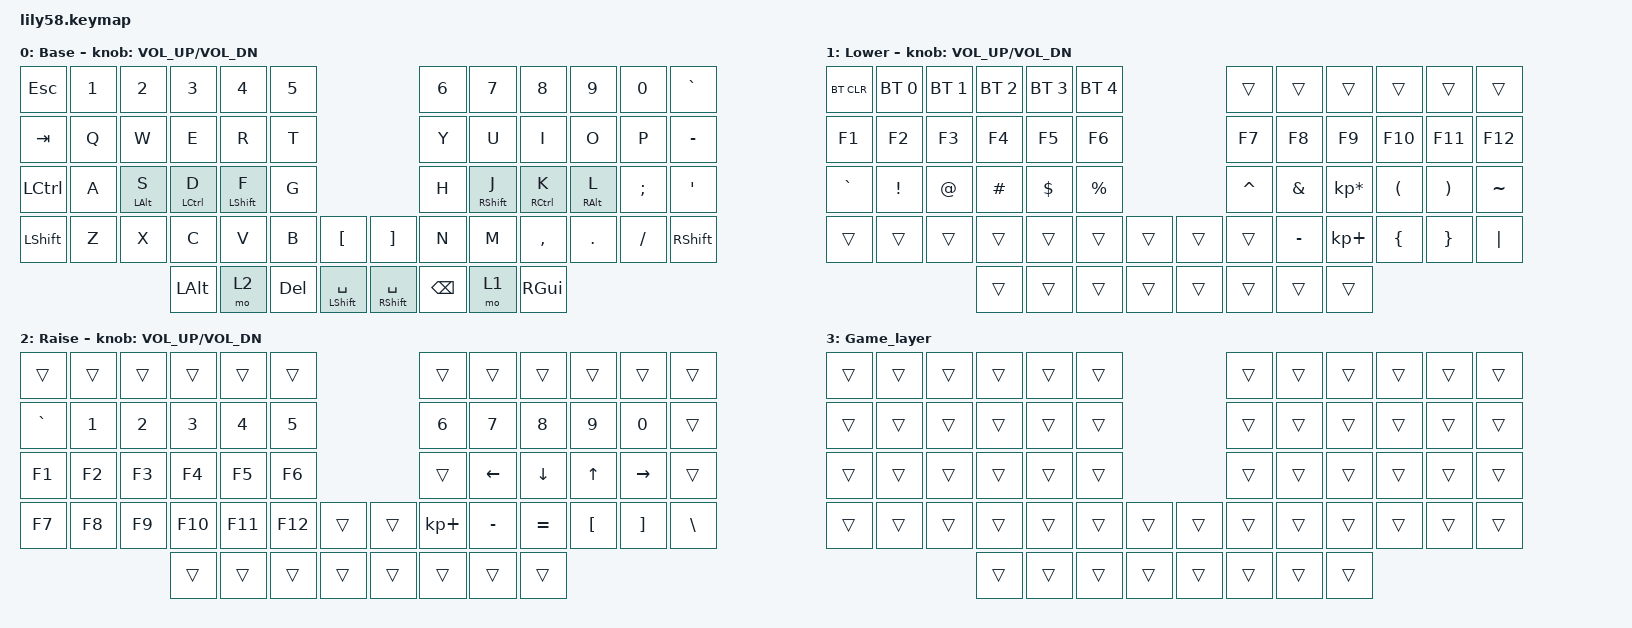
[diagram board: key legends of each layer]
/*
 * Copyright (c) 2020 The ZMK Contributors
 *
 * SPDX-License-Identifier: MIT
 */

#include <behaviors.dtsi>
#include <dt-bindings/zmk/bt.h>
#include <dt-bindings/zmk/keys.h>

/ {
    keymap {
        compatible = "zmk,keymap";

        default_layer {
            // ------------------------------------------------------------------------------------------------------------
            // |  ESC  |  1  |  2  |  3   |  4   |  5   |                   |  6   |  7    |  8    |  9   |   0   |   `   |
            // |  TAB  |  Q  |  W  |  E   |  R   |  T   |                   |  Y   |  U    |  I    |  O   |   P   |   -   |
            // |  CTRL |  A  |  S  |  D   |  F   |  G   |                   |  H   |  J    |  K    |  L   |   ;   |   '   |
            // | SHIFT |  Z  |  X  |  C   |  V   |  B   |   "["  |  |  "]"  |  N   |  M    |  ,    |  .   |   /   | SHIFT |
            //                     | ALT  | GUI  | LOWER|  SPACE |  | ENTER | RAISE| BSPC  | GUI   |

            display-name = "Base";
            bindings = <
&kp ESC    &kp N1  &kp N2          &kp N3              &kp N4            &kp N5                                                     &kp N6         &kp N7        &kp N8               &kp N9           &kp N0    &kp GRAVE
&kp TAB    &kp Q   &kp W           &kp E               &kp R             &kp T                                                      &kp Y          &kp U         &kp I                &kp O            &kp P     &kp MINUS
&kp LCTRL  &kp A   &mt LEFT_ALT S  &mt LEFT_CONTROL D  &mt LEFT_SHIFT F  &kp G                                                      &kp H          &mt RSHIFT J  &mt RIGHT_CONTROL K  &mt RIGHT_ALT L  &kp SEMI  &kp SQT
&kp LSHFT  &kp Z   &kp X           &kp C               &kp V             &kp B       &kp LBKT                &kp RBKT               &kp N          &kp M         &kp COMMA            &kp DOT          &kp FSLH  &kp RSHFT
                                   &kp LALT            &mo 2             &kp DELETE  &mt LEFT_SHIFT SPACE    &mt RIGHT_SHIFT SPACE  &kp BACKSPACE  &mo 1         &kp RGUI
            >;

            sensor-bindings = <&inc_dec_kp C_VOL_UP C_VOL_DN>;
        };

        lower_layer {
            // ------------------------------------------------------------------------------------------------------------
            // | BTCLR | BT1 | BT2 |  BT3 |  BT4 |  BT5 |                   |      |       |       |      |       |       |
            // |  F1   |  F2 |  F3 |  F4  |  F5  |  F6  |                   |  F7  |  F8   |  F9   |  F10 |  F11  |  F12  |
            // |   `   |  !  |  @  |  #   |  $   |  %   |                   |  ^   |  &    |  *    |  (   |   )   |   ~   |
            // |       |     |     |      |      |      |        |  |       |      |  _    |  +    |  {   |   }   |  "|"  |
            //                     |      |      |      |        |  |       |      |       |       |

            display-name = "Lower";
            bindings = <
&bt BT_CLR  &bt BT_SEL 0  &bt BT_SEL 1  &bt BT_SEL 2  &bt BT_SEL 3  &bt BT_SEL 4                    &trans     &trans     &trans           &trans    &trans    &trans
&kp F1      &kp F2        &kp F3        &kp F4        &kp F5        &kp F6                          &kp F7     &kp F8     &kp F9           &kp F10   &kp F11   &kp F12
&kp GRAVE   &kp EXCL      &kp AT        &kp HASH      &kp DOLLAR    &kp PRCNT                       &kp CARET  &kp AMPS   &kp KP_MULTIPLY  &kp LPAR  &kp RPAR  &kp TILDE
&trans      &trans        &trans        &trans        &trans        &trans        &trans    &trans  &trans     &kp MINUS  &kp KP_PLUS      &kp LBRC  &kp RBRC  &kp PIPE
                                        &trans        &trans        &trans        &trans    &trans  &trans     &trans     &trans
            >;

            sensor-bindings = <&inc_dec_kp C_VOL_UP C_VOL_DN>;
        };

        upper_layer {
            // ------------------------------------------------------------------------------------------------------------
            // |       |     |     |      |      |      |                   |      |       |       |      |       |       |
            // |   `   |  1  |  2  |  3   |  4   |  5   |                   |  6   |   7   |   8   |  9   |   0   |       |
            // |   F1  |  F2 |  F3 |  F4  |  F5  |  F6  |                   |      |   <-  |   v   |  ^   |  ->   |       |
            // |   F7  |  F8 |  F9 |  F10 |  F11 |  F12 |        |  |       |  +   |   -   |   =   |  [   |   ]   |   \   |
            //                     |      |      |      |        |  |       |      |       |       |

            display-name = "Raise";
            bindings = <
&trans     &trans  &trans  &trans   &trans   &trans                     &trans       &trans     &trans     &trans    &trans     &trans
&kp GRAVE  &kp N1  &kp N2  &kp N3   &kp N4   &kp N5                     &kp N6       &kp N7     &kp N8     &kp N9    &kp N0     &trans
&kp F1     &kp F2  &kp F3  &kp F4   &kp F5   &kp F6                     &trans       &kp LEFT   &kp DOWN   &kp UP    &kp RIGHT  &trans
&kp F7     &kp F8  &kp F9  &kp F10  &kp F11  &kp F12  &trans    &trans  &kp KP_PLUS  &kp MINUS  &kp EQUAL  &kp LBKT  &kp RBKT   &kp BSLH
                           &trans   &trans   &trans   &trans    &trans  &trans       &trans     &trans
            >;

            sensor-bindings = <&inc_dec_kp C_VOL_UP C_VOL_DN>;
        };

        Game_layer {
            bindings = <
&trans  &trans  &trans  &trans  &trans  &trans                    &trans  &trans  &trans  &trans  &trans  &trans
&trans  &trans  &trans  &trans  &trans  &trans                    &trans  &trans  &trans  &trans  &trans  &trans
&trans  &trans  &trans  &trans  &trans  &trans                    &trans  &trans  &trans  &trans  &trans  &trans
&trans  &trans  &trans  &trans  &trans  &trans  &trans    &trans  &trans  &trans  &trans  &trans  &trans  &trans
                        &trans  &trans  &trans  &trans    &trans  &trans  &trans  &trans
            >;
        };
    };
};
